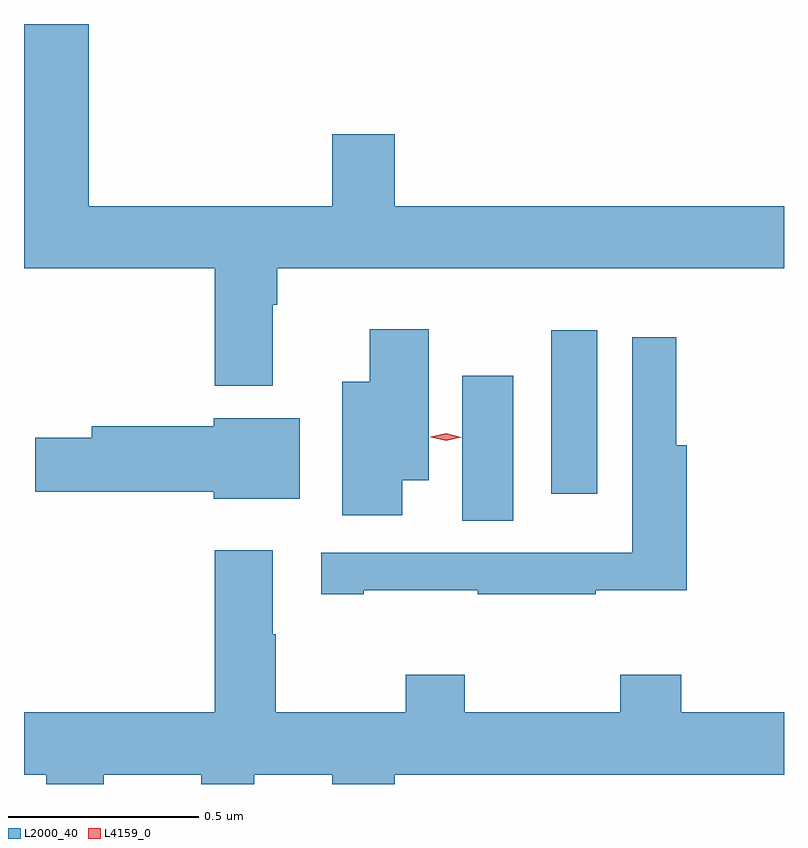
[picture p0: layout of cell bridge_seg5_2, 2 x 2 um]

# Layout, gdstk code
import gdstk
lib = gdstk.Library(unit=1e-6, precision=1e-09)
def R(c, l, rs):  # rectangles x0, y0, x1, y1
    for r in rs: c.add(gdstk.rectangle(r[:2], r[2:], *l))
def P(c, l, *ps):  # polygons
    for p in ps: c.add(gdstk.Polygon(p, *l))
L2000_40 = (2000, 40)
L4159_0 = (4159, 0)

bridge_seg5_2 = lib.new_cell('bridge_seg5_2')
R(bridge_seg5_2, L2000_40, [(992.522,842.776,992.656,843.157), (992.756,842.847,992.878,843.277)])
P(bridge_seg5_2, L2000_40, [(992.023,843.344),(992.036,843.344),(992.036,843.44),(993.369,843.44),(993.369,843.604),(992.344,843.604),(992.344,843.793),(992.18,843.793),(992.18,843.604),(991.54,843.604),(991.54,844.083),(991.369,844.083),(991.369,843.44),(991.871,843.44),(991.871,843.131),(992.023,843.131)],
  [(992.365,842.882),(992.434,842.882),(992.434,843.28),(992.279,843.28),(992.279,843.142),(992.207,843.142),(992.207,842.79),(992.365,842.79)],
  [(992.263,842.593),(992.563,842.593),(992.563,842.583),(992.873,842.583),(992.873,842.593),(993.113,842.593),(993.113,842.974),(993.086,842.974),(993.086,843.259),(992.97,843.259),(992.97,842.692),(992.76,842.692),(992.76,842.691),(992.151,842.691),(992.151,842.583),(992.263,842.583)],
  [(992.095,843.046),(991.868,843.046),(991.868,843.024),(991.547,843.024),(991.547,842.994),(991.398,842.994),(991.398,842.852),(991.868,842.852),(991.868,842.834),(992.095,842.834)],
  [(991.871,842.272),(991.369,842.272),(991.369,842.108),(991.427,842.108),(991.427,842.083),(991.579,842.083),(991.579,842.108),(991.835,842.108),(991.835,842.083),(991.975,842.083),(991.975,842.108),(992.18,842.108),(992.18,842.083),(992.344,842.083),(992.344,842.108),(993.369,842.108),(993.369,842.272),(993.098,842.272),(993.098,842.371),(992.938,842.371),(992.938,842.272),(992.529,842.272),(992.529,842.371),(992.374,842.371),(992.374,842.272),(992.031,842.272),(992.031,842.477),(992.023,842.477),(992.023,842.698),(991.871,842.698)])
P(bridge_seg5_2, L4159_0, [(992.48,842.986),(992.44,842.996),(992.44,842.996),(992.44,842.997),(992.48,843.006),(992.52,842.996),(992.52,842.996),(992.52,842.996)])

lib.write_gds('bridge_seg5_2.gds')
